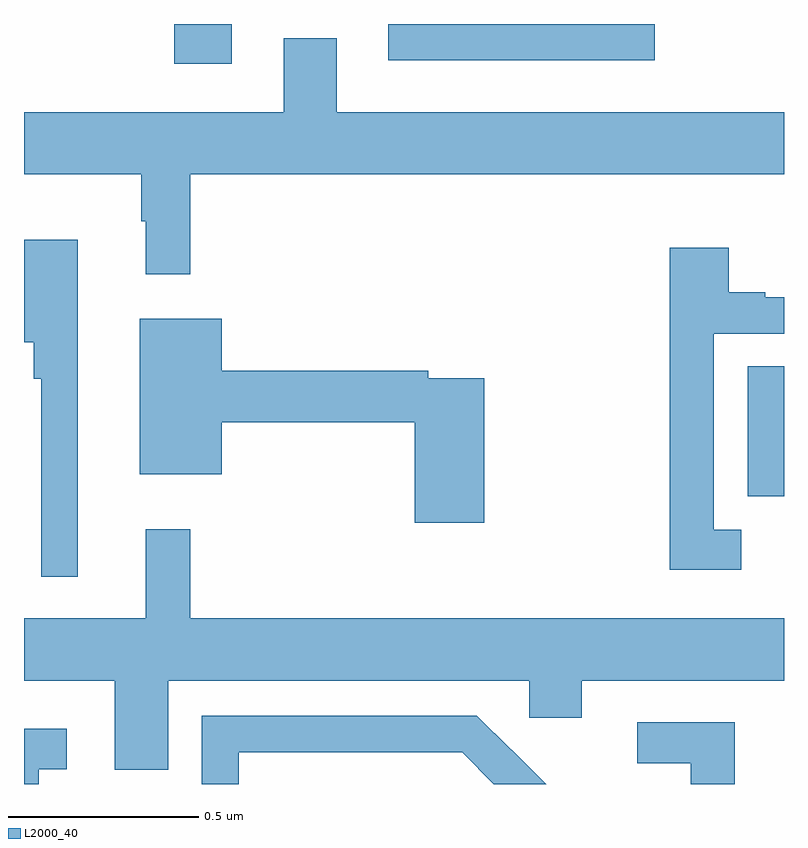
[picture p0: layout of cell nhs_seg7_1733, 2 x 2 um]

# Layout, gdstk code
import gdstk
lib = gdstk.Library(unit=1e-6, precision=1e-09)
def R(c, l, rs):  # rectangles x0, y0, x1, y1
    for r in rs: c.add(gdstk.rectangle(r[:2], r[2:], *l))
def P(c, l, *ps):  # polygons
    for p in ps: c.add(gdstk.Polygon(p, *l))
L2000_40 = (2000, 40)

nhs_seg7_1733 = lib.new_cell('nhs_seg7_1733')
R(nhs_seg7_1733, L2000_40, [(136.904,1011.757,137,1012.1), (135.395,1012.896,135.547,1013), (135.959,1012.904,136.66,1013)])
P(nhs_seg7_1733, L2000_40, [(135.437,1012.604),(137,1012.604),(137,1012.768),(135.823,1012.768),(135.823,1012.963),(135.683,1012.963),(135.683,1012.768),(135,1012.768),(135,1012.604),(135.309,1012.604),(135.309,1012.481),(135.32,1012.481),(135.32,1012.341),(135.437,1012.341)],
  [(135.142,1012.432),(135,1012.432),(135,1012.163),(135.025,1012.163),(135.025,1012.067),(135.045,1012.067),(135.045,1011.546),(135.142,1011.546)],
  [(136.888,1011.669),(136.815,1011.669),(136.815,1012.185),(137,1012.185),(137,1012.281),(136.951,1012.281),(136.951,1012.294),(136.855,1012.294),(136.855,1012.411),(136.699,1012.411),(136.699,1011.564),(136.888,1011.564)],
  [(136.211,1012.068),(136.064,1012.068),(136.064,1012.088),(135.52,1012.088),(135.52,1012.225),(135.305,1012.225),(135.305,1011.815),(135.52,1011.815),(135.52,1011.952),(136.028,1011.952),(136.028,1011.687),(136.211,1011.687)],
  [(135.379,1011.272),(136.329,1011.272),(136.329,1011.174),(136.468,1011.174),(136.468,1011.272),(137,1011.272),(137,1011.436),(135.437,1011.436),(135.437,1011.67),(135.32,1011.67),(135.32,1011.436),(135,1011.436),(135,1011.272),(135.239,1011.272),(135.239,1011.037),(135.379,1011.037)],
  [(135.565,1011.084),(136.153,1011.084),(136.236,1011),(136.374,1011),(136.284,1011.09),(136.283,1011.089),(136.192,1011.18),(135.468,1011.18),(135.468,1011),(135.565,1011)],
  [(136.871,1011.162),(136.614,1011.162),(136.614,1011.054),(136.754,1011.054),(136.754,1011),(136.871,1011)],
  [(135.039,1011.039),(135.112,1011.039),(135.112,1011.145),(135,1011.145),(135,1011),(135.039,1011)])

lib.write_gds('nhs_seg7_1733.gds')
